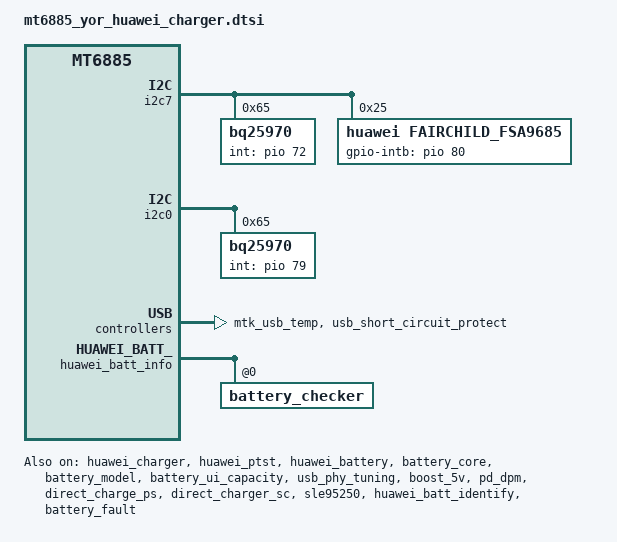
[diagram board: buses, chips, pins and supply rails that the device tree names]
&charger {
	ac_charger_current = <2695000>;
	ac_charger_input_current = <2300000>;
	fcp_charger_current = <2500000>;
	fcp_charger_input_current = <1400000>;
	non_std_ac_charger_current = <1200000>;
	pd_vbus_upper_bound = <9000000>;
	max_charger_voltage = <12000000>;
	bc12_charger = <22>; /* usb switch do bc12 */
	dpm_enable;
	battery_cv = <4440000>;
	iterm = <460000>;
	vbus_max_limit = <11500>;
	jeita_temp_above_t4_cv = <4100000>;
	jeita_temp_t3_to_t4_cv = <4100000>;
	jeita_temp_t2_to_t3_cv = <4440000>;
	jeita_temp_t1_to_t2_cv = <4440000>;
	jeita_temp_t0_to_t1_cv = <4440000>;
	jeita_temp_below_t0_cv = <4100000>;
	jeita_temp_t3_to_t4_cur = <1400000>;
	jeita_temp_t2_to_t3_cur = <2800000>;
	jeita_temp_t1_to_t2_cur = <1200000>;
	jeita_temp_t0_to_t1_cur = <400000>;

	vdpm_buf_limit = <100>;
	vdpm_para =
			"-32767", "4000", "4300", "50",
			"4000", "4200", "4500", "50",
			"4200", "32767", "4600", "50";
	charge_full_design = <3900000>;
};

&mt6360_pmic {
	pwr_off_seq = [04 00 02 02];
};

&pio {
	bq25970_main_irq_pins_default: bq25970_main_irq_pins_default {
		pins_cmd_dat {
			pinmux = <PINMUX_GPIO72__FUNC_GPIO72>;
			slew-rate = <0>;
			bias-pull-up;
		};
	};
	bq25970_aux_irq_pins_default: bq25970_aux_irq_pins_default {
		pins_cmd_dat {
			pinmux = <PINMUX_GPIO79__FUNC_GPIO79>;
			slew-rate = <0>;
			bias-pull-up;
		};
	};
	fsa9685_irq_pins_default: fsa9685_irq_pins_default {
		pins_cmd_dat {
			pinmux = <PINMUX_GPIO80__FUNC_GPIO80>;
			slew-rate = <0>;
			bias-pull-up;
		};
	};

	rt9426_irq_pins_default: rt9426_irq_pins_default {
		pins_cmd_dat {
			pinmux = <PINMUX_GPIO15__FUNC_GPIO15>;
			slew-rate = <0>;
			bias-pull-up;
		};
	};
	bq27z561_irq_pins_default: bq27z561_irq_pins_default {
		pins_cmd_dat {
			pinmux = <PINMUX_GPIO15__FUNC_GPIO15>;
			slew-rate = <0>;
			bias-pull-up;
		};
	};
	battct_swi_pins_default: battct_swi_pins_default {
		pins_cmd_dat {
			pinmux = <PINMUX_GPIO9__FUNC_GPIO9>;
			slew-rate = <0>;
			bias-disabled;
			input-enable;
			drive-strength = <3>;
		};
	};
	battct_id_pins_default: battct_id_pins_default {
		pins_cmd_dat {
			pinmux = <PINMUX_GPIO127__FUNC_GPIO127>;
			slew-rate = <0>;
			bias-disabled;
			output-high;
		};
	};
};

&i2c7 {
	#address-cells = <1>;
	#size-cells = <0>;
	bq25970@65 {
		compatible = "bq25970";
		pinctrl-names = "default";
		pinctrl-0 = <&bq25970_main_irq_pins_default>;
		gpio_int = <&pio 72 0x0>;
		switching_frequency = <675>;
		sense_r_config = <20>;
		sense_r_actual = <10>;
		reg = <0x65>;
		status = "ok";
	};

	fairchild_fsa9685@25 {
		compatible = "huawei,fairchild_fsa9685";
		reg = <0x25>;
		pinctrl-names = "default";
		pinctrl-0 = <&fsa9685_irq_pins_default>;
		fairchild_fsa9685,gpio-intb = <&pio 80 0x0>;
		fcp_support = <1>;
		scp_support = <1>;
		power_by_5v = <1>;
		close_bc12 = <1>;
		/* for rt8979 */
		interrupt-names = "vbus_change", "device_change", "detach",
			"attach";
		/* auto_switch; */
		scp;
		dcd;
		dcd_timeout = <600>;  /* ms */
		intb_watchdog = <1000>;  /* ms */
		ovp_sel = <14500000>;  /* uV */
		status = "ok";
	};

	bq27z561_fg@55 {
		reg = <0x55>;
		compatible = "huawei,bq27z561";
		status = "disabled";
		pinctrl-names = "default";
		pinctrl-0 = <&bq27z561_irq_pins_default>;
		bq27z561,gpio-intb = <&pio 15 0x0>;
		ntc_compensation_is = <1>;
		ntc_temp_compensation_para =
			"11000", "140",
			"10000", "120",
			"9000", "100",
			"8000", "80",
			"7000", "60",
			"6000", "50",
			"5000", "40",
			"3000", "20",
			"2000", "10";
		batt_default_name = "BCYCAE_3900_4445_BT162";
		#include "ti_BCYCAE_4445_3900mah_BT162.dtsi"
	};

	rt9426_battery@55{
		reg = <0x55>;
		rt,bat_name = "rt_battery";
		compatible = "richtek,rt9426";
		rt_config_ver = <8>;
		pinctrl-names = "default";
		pinctrl-0 = <&rt9426_irq_pins_default>;
		rt9426,gpio-intb = <&pio 15 0x0>;
		rt,dtsi_version = <01 729>;
		rt,battery_type = <4400>;
		rt,volt_source = <3>;		/* 0:AP 1:FG_VBAT 2:FG_OCV; 3:FG_AV  */
		rt,temp_source = <1>;		/* 0:AP 1:FG_TEMP 2:FG_INTT; 3:FG_AT */
		rt,curr_source = <2>;		/* 0:AP 1:FG_CURR 2:FG_AI            */
		rt,offset_interpolation_order = <2 2>;
		rt,soc_offset_size = <2 1>;
		rt,soc_offset_data = < 0 250 0 1000 250 0>;
		rt,extreg_size = <30>;
		rt,extreg_data = <
			0x1 0x4A 0x320B
			0x1 0x4C 0x0402
			0x1 0x4E 0x501A
			0x2 0x4E 0x2404
			0x3 0x4E 0xB708
			0x5 0x48 0x020A
			0x5 0x4C 0x3223
			0x6 0x40 0x8813
			0x6 0x42 0x8224
			0x6 0x44 0xAF77
			0x6 0x48 0xA310
			0x6 0x4A 0x6852
			0x6 0x4C 0x6457
			0x6 0x4E 0x0461
			0x7 0x40 0x0F18
			0x7 0x42 0x0306
			0x7 0x44 0x0303
			0x7 0x46 0x0000
			0x7 0x48 0x0000
			0x7 0x4A 0x0303
			0x7 0x4C 0x0003
			0x7 0x4E 0xFF00
			0x8 0x40 0xFEFE
			0x8 0x42 0xFEFE
			0x8 0x44 0xFDFD
			0x8 0x46 0xF6F9
			0x8 0x48 0xFEFE
			0x8 0x4A 0xF3FE
			0x8 0x4C 0xE9F3
			0x8 0x4E 0x00DF >;
		rt,design_capacity = <1578>;
		rt,fcc = <1578>;
		rt,fg_fc_vth = <0x9F>;
		rt,fg_fc_ith = <0x32>;
		rt,fg_fc_sth = <0x05>;
		rt,fg_fd_vth = <0x6A>;
		rt,fg_op_config = <0x3400 0x4000 0x3EFB 0x2000 0x087E>;
		rt,fg_otc_tth = <0x0064>;
		rt,fg_otc_chg_ith = <0x045F>;
		rt,fg_otd_tth = <0x0064>;
		rt,fg_otd_dchg_ith = <0x045F>;
		rt,fg_uvov_threshold = <0x00FF>;
		rt,fg_us_threshold = <0x00>;
		rt,fg_curr_db = <0x04>;
		rt,rs_ic_setting = <250>; /* 2.5mR */
		rt,rs_schematic = <100>; /* 1.0mR */
		rt,fg_ocv_table = <0x0013 0x44C0 0x4B00 0x563A 0x5A93 0x5BF3 0x5CC0 0x5E00
			0x5F93 0x60A6 0x619A 0x62CD 0x63A6 0x6626 0x687A 0x69E0
			0x6B0D 0x6C4D 0x6DC0 0x706D 0x1900 0x0B3A 0x0359 0x0173
			0x0035 0x0043 0x0032 0x0041 0x005A 0x00A6 0x007C 0x007F
			0x0091 0x0092 0x008F 0x008E 0x006C 0x0112 0x0013 0xFF80
			0x0000 0x0200 0x049A 0x0680 0x0E4D 0x17E6 0x281A 0x309A
			0x3600 0x39B3 0x3D33 0x474D 0x4F80 0x5466 0x589A 0x5D1A
			0x6400 0x6900 0x000A 0x0017 0x004D 0x00B1 0x04E0 0x03D7
			0x0525 0x03F4 0x02D8 0x018B 0x020F 0x0205 0x01C3 0x01C0
			0x01CA 0x01CD 0x0261 0x00EF 0x5DCE 0x0000 0x0000 0x0000 >;
		status = "disabled";
		ntc_compensation_is = <1>;
		ntc_temp_compensation_para =
			"11000", "150",
			"10000", "120",
			"9000", "110",
			"8000", "90",
			"7000", "80",
			"6000", "70",
			"5000", "60",
			"3000", "50";
	};
};

&i2c0 {
	#address-cells = <1>;
	#size-cells = <0>;
	bq25970@65 {
		compatible = "bq25970";
		pinctrl-names = "default";
		pinctrl-0 = <&bq25970_aux_irq_pins_default>;
		gpio_int = <&pio 79 0x0>;
		ic_role = <1>;
		switching_frequency = <675>;
		sense_r_config = <20>;
		sense_r_actual = <10>;
		reg = <0x65>;
		status = "ok";
	};
};

&huawei_charger {
	compatible = "huawei,charger";
	en_eoc_max_delay = <6>;
	status = "ok";
};

&huawei_ptst {
	compatible = "huawei,power_test";
	dc_mmi_para = <45 0x01 1 5000 5>;
	status = "ok";
};

&huawei_battery {
	compatible = "huawei,battery";
	voltage_max_design = <4430000>;
	rbat_pull_up_r = < 22000>;
	use_third_coul = <1>;
	status = "ok";
};

&huawei_power_proxy  {
	status = "ok";
};
&huawei_power_supply {
	status = "ok";
};
&battery_core {
	status = "ok";
};
&battery_model {
	bat_id_table =
		"BYTCAE", "0", "0", "YA",
		"BITCAE", "0", "0", "IA";
	vbat_max = <4440>;
	design_fcc = <4000>;
	status = "ok";
};
&battery_ui_capacity {
	status = "ok";
};

&lk_charger{
	ac_charger_current = <1050000>;
	ac_charger_input_current = <1050000>;
	non_std_ac_charger_current = <1050000>;
	max_charger_voltage = <12000000>;
	is_power_path;
	poweron_charger_enable = <1>;
};

&bat_gm30 {
	status = "disabled";
	bat_para =
		"BYT_CAE", "250000", "350000",
		"BIT_CAE", "830000", "960000";
	min_fcc = <2730000>;
	max_fcc = <3900000>;
	dlpt_optimization;
	ntc_compensation_is = <1>;
	ntc_temp_compensation_para =
		"11000", "150",
		"10000", "120",
		"9000", "110",
		"8000", "90",
		"7000", "80",
		"6000", "70",
		"5000", "60",
		"3000", "50";
	CAR_TUNE_VALUE = <(500)>;
	COM_FG_METER_RESISTANCE = <(30)>;
	#include "BITCAE_4v43_3900mah_ext.dtsi"
	#include "BYTCAE_4v43_3900mah_ext.dtsi"
};

&usb_phy_tuning {
	h_u2_vrt_ref = <7>;
	h_u2_term_ref = <7>;
	h_u2_enhance = <3>;
	d_u2_vrt_ref = <7>;
	d_u2_term_ref = <7>;
	d_u2_enhance = <3>;
	status = "ok";
};

&mt6360_pmu {
	mt6360,intr_gpio_num = <24>; /* direct defined GPIO num */
	mt6360,intr_gpio = <&pio 24 0x0>;
	chg {
		ieoc = <460000>;
		rcmp_resistor = <10>;
	};
};

&boost_5v {
	boost_5v_use_common_pmic = <0>;
	gpio_5v_boost = <&pio 27 0x0>;
	status = "ok";
};

&pd_dpm {
	support_analog_audio = <1>;
	otg_channel = <0>;
	status = "ok";
};

&mt6360_typec {
	mt6360pd,intr_gpio_num = <25>; /* direct defined GPIO num */
	mt6360pd,intr_gpio = <&pio 25 0x0>;
};

&direct_charge_ps {
	status = "ok";
};

&direct_charger {
	use_5A = <1>;
	need_wired_sw_off = <0>;
	volt_para =
		"4080", "5000", "4650",
		"4380", "4650", "2800",
		"4400", "2800", "1800";
	compensate_r = <20>;
	cc_cable_detect_enable = <1>;
	full_path_res_max = <220>;
	scp_work_on_charger = <1>;
	standard_cable_full_path_res_max = <260>;
	first_cc_stage_timer_in_min = <5>;
	stage_need_to_jump = "1";
	low_temp_hysteresis = <5>;
	temp_para =
		"-32767", "10", "0",
		"10", "45", "5000",
		"45", "32767", "0";
	rt_test_para =
		"1000", "105"; /* rt_curr_th rt_test_time */
	status = "disabled";
};

&direct_charger_sc {
	use_5A = <1>;
	adaptor_antifake_check_enable = <1>;
	adaptor_antifake_key_index = <2>;
	dc_volt_ratio = <2>;
	max_adaptor_vset = <11000>;
	init_adapter_vset = <8800>;
	delta_err_10v2p25a = <150>;
	vol_err_th = <500>;
	adaptor_leakage_current_th = <600>;
	high_temp_hysteresis = <1>;
	gain_curr_10v2a = <300>;
	gain_curr_10v2p25a = <500>;
	init_delt_vset = <450>;
	vstep = <20>;
	max_dc_bat_vol = <4380>;
	max_current_for_none_standard_cable = <6000>;
	vbat_comp_para =
		"hi6526", "30", "30";
	volt_para =
		"4150", "8000", "6000",
		"4250", "6000", "4000",
		"4300", "4000", "2800",
		"4400", "2800", "1800";
	volt_para1 =
		"4240", "12200", "11000",
		"4250", "11000", "8000",
		"4330", "8000", "6000",
		"4380", "6000", "4800",
		"4400", "4800", "1800";
	bat_para =
		"CAE", "10", "20", "volt_para",
		"CAE", "20", "46", "volt_para1",
		"default", "10", "20", "volt_para",
		"default", "20", "46", "volt_para1";
	vstep_para =
			"2000", "80";
	compensate_r = <0>;
	cc_cable_detect_enable = <1>;
	full_path_res_max = <500>;
	scp_work_on_charger = <1>;
	standard_cable_full_path_res_max = <500>;
	first_cc_stage_timer_in_min = <10>;
	stage_need_to_jump = "-1";
	is_show_ico_first = <1>;
	is_send_cable_type = <0>;
	support_multi_ic = <1>;
	rt_test_para =
		/* first:sc second:mainsc third:auxsc */
		"500", "105",
		"500", "105",
		"500", "105";
	temp_para =
		"-32767", "10", "0",
		"10", "45", "12500",
		"45", "32767", "0";
	resist_para =
		"0", "300", "6000",
		"300", "500", "5000";
	std_resist_para =
		"0", "300", "12500",
		"300", "500", "5000";
	10v2p25a_cur_para =
		"-32767", "5500",  "2000",
		"5500",   "9000",  "2500",
		"9000",   "10000", "2250",
		"10000",  "10500", "2000",
		"10500",  "32767", "1500";
	status = "ok";
};

&power_thermalzone {
	status = "ok";
};

&mtk_usb_temp {
	io-channels = <&auxadc 4>;
	status = "ok";
};

&usb_short_circuit_protect {
	uscp_threshold_tusb = <40>;
	open_mosfet_temp = <30>;
	close_mosfet_temp = <10>;
	interval_switch_temp = <15>;
	status = "ok";
};

&sle95250 {
	pinctrl-names = "default";
	pinctrl-0 = <&battct_swi_pins_default>;
	onewire-gpio = <&pio 9 0x0>;
	product_id0 = <1>;
	product_id2 = <3>;
	gpio_sn_mode_val = <0>;
	dip_check = <0>;
	gpio_swi = <9>;
	gpio_id_mode = <127>;
	gpio_swi_drv = <3>;
	status = "ok";
};

&huawei_batt_identify {
	pinctrl-names = "default";
	pinctrl-0 = <&battct_id_pins_default>;
	gpios = <&pio 127 0x0>;
	id_voltage_gpiov = <0 1>;
	id_sn_gpiov = <0 0>;
	status = "ok";
};

&huawei_batt_info {
	status = "ok";
	shield_ct_sign = <3>;
	battery_checker@0 {
		matchable = <&sle95250>;
		status = "ok";
	};
};

&soc_decimal {
	ui_offset = <0>;
};

&battery_fault {
	vol_cutoff_normal = <3000>;
	vol_cutoff_sleep = <3350>;
	vol_cutoff_low_temp = <3000>;
	vol_cutoff_filter_cnt = <6>;
	status = "ok";
};
